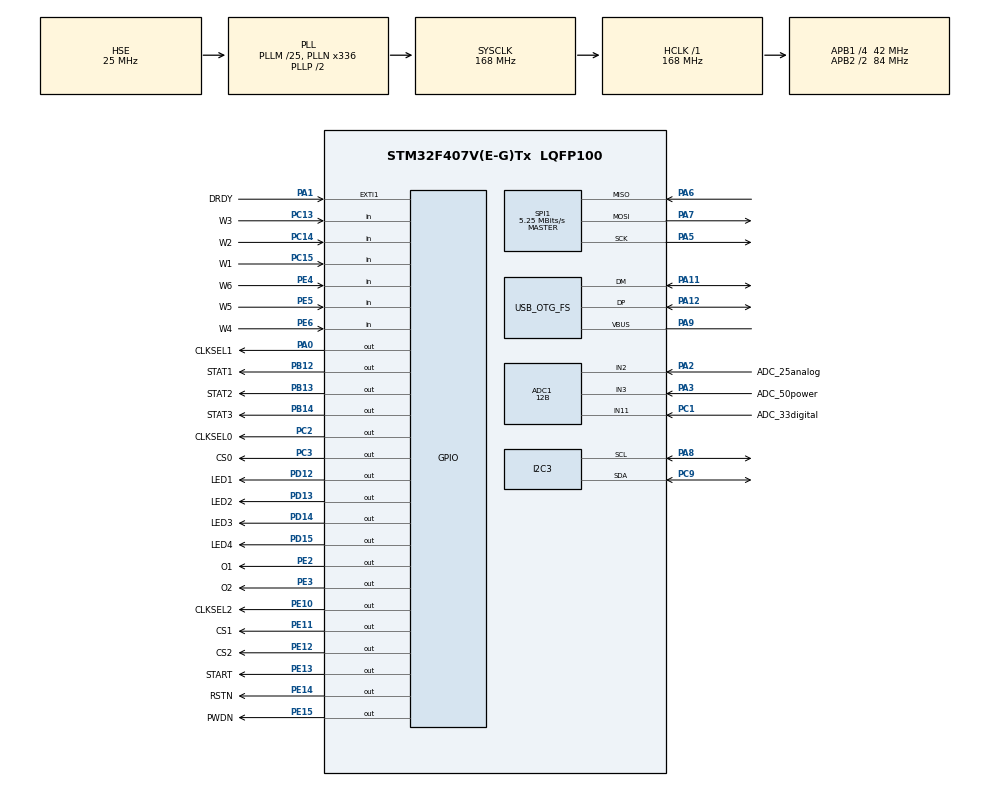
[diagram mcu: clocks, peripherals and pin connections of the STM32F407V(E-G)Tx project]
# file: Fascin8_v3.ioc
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Mcu.Family=STM32F4
PD12.GPIO_Label=LED1
PA6.Mode=Full_Duplex_Master
USB_DEVICE.CLASS_NAME_FS=CDC
PH0-OSC_IN.Signal=RCC_OSC_IN
RCC.CortexFreq_Value=168000000
SPI1.VirtualType=VM_MASTER
VP_ADC1_TempSens_Input.Mode=IN-TempSens
ADC1.ContinuousConvMode=ENABLE
PE11.GPIO_Label=CS1
SH.ADCx_IN2.0=ADC1_IN2,IN2
PB14.GPIO_Label=STAT3
PA11.Mode=Device_Only
USB_DEVICE.VirtualMode-CDC_FS=Cdc
PB13.GPIO_Label=STAT2
PB13.Signal=GPIO_Output
PC15-OSC32_OUT.GPIO_Label=W1
PE6.GPIO_Label=W4
RCC.SYSCLKSource=RCC_SYSCLKSOURCE_PLLCLK
ProjectManager.StackSize=0x6000
PD13.Signal=GPIO_Output
NVIC.EXTI1_IRQn=true\:0\:0\:false\:false\:true\:true\:true
PA12.Signal=USB_OTG_FS_DP
PE5.GPIO_PuPd=GPIO_PULLUP
USB_DEVICE.USBD_MAX_NUM_INTERFACES-CDC_FS=10
ADC1.Channel-3\#ChannelRegularConversion=ADC_CHANNEL_TEMPSENSOR
SPI1.Direction=SPI_DIRECTION_2LINES
RCC.HCLKFreq_Value=168000000
SH.ADCx_IN3.0=ADC1_IN3,IN3
ADC1.Resolution=ADC_RESOLUTION_12B
RCC.APB2TimFreq_Value=168000000
TIM3.Period=699
Dma.ADC1.0.Direction=DMA_PERIPH_TO_MEMORY
ADC1.Channel-2\#ChannelRegularConversion=ADC_CHANNEL_11
ADC1.InjNumberOfConversion=0
SPI1.CalculateBaudRate=5.25 MBits/s
PC3.Signal=GPIO_Output
NVIC.DMA2_Stream0_IRQn=true\:0\:0\:false\:false\:true\:false\:true
PE5.Signal=GPIO_Input
Dma.ADC1.0.MemDataAlignment=DMA_MDATAALIGN_WORD
RCC.AHBFreq_Value=168000000
PH0-OSC_IN.Mode=HSE-External-Clock-Source
ADC1.Channel-0\#ChannelRegularConversion=ADC_CHANNEL_2
RCC.HSE_VALUE=25000000
ADC1.ScanConvMode=ENABLE
PC13-ANTI_TAMP.Signal=GPIO_Input
PB12.GPIO_Label=STAT1
NVIC.I2C3_EV_IRQn=true\:0\:0\:false\:false\:true\:true\:true
ADC1.Rank-2\#ChannelRegularConversion=3
PE13.Signal=GPIO_Output
PA14.Mode=Serial_Wire
TIM3.Prescaler=41999
Dma.ADC1.0.PeriphInc=DMA_PINC_DISABLE
PE4.GPIO_Label=W6
PC9.Mode=I2C
PE2.Signal=GPIO_Output
PA8.Signal=I2C3_SCL
PE10.Signal=GPIO_Output
PE4.Signal=GPIO_Input
ADC1.SamplingTime-0\#ChannelRegularConversion=ADC_SAMPLETIME_3CYCLES
USB_DEVICE.APP_RX_DATA_SIZE-CDC_FS=4
PH1-OSC_OUT.Mode=HSE-External-Clock-Source
PD13.GPIO_Label=LED2
Mcu.Package=LQFP100
PA6.Signal=SPI1_MISO
PD12.Signal=GPIO_Output
NVIC.OTG_FS_IRQn=true\:0\:0\:false\:false\:true\:false\:true
PA2.GPIO_Label=ADC_25analog
USB_OTG_FS.VirtualMode=Device_Only
PE12.GPIO_Label=CS2
RCC.APB2CLKDivider=RCC_HCLK_DIV2
RCC.APB1TimFreq_Value=84000000
Dma.ADC1.0.FIFOMode=DMA_FIFOMODE_DISABLE
PC14-OSC32_IN.GPIO_Label=W2
PE10.GPIO_Label=CLKSEL2
Dma.Request0=ADC1
SPI1.BaudRatePrescaler=SPI_BAUDRATEPRESCALER_16
PE6.GPIO_PuPd=GPIO_PULLUP
PA1.GPIO_ModeDefaultEXTI=GPIO_MODE_IT_FALLING
PE2.GPIO_Label=O1
PC2.GPIO_Label=CLKSEL0
ADC1.EOCSelection=ADC_EOC_SEQ_CONV
PD15.Signal=GPIO_Output
VP_TIM3_VS_ClockSourceINT.Mode=Internal
USB_DEVICE.USBD_DEBUG_LEVEL-CDC_FS=3
PA3.Signal=ADCx_IN3
PA5.Mode=Full_Duplex_Master
Dma.ADC1.0.Instance=DMA2_Stream0
PD15.GPIO_Label=LED4
ADC1.Rank-0\#ChannelRegularConversion=1
PA7.Mode=Full_Duplex_Master
PC13-ANTI_TAMP.GPIO_PuPd=GPIO_PULLUP
USB_DEVICE.VirtualModeFS=Cdc_FS
PC13-ANTI_TAMP.GPIO_Label=W3
PC2.Signal=GPIO_Output
USB_DEVICE.USBD_MAX_STR_DESC_SIZ-CDC_FS=2048
PE14.GPIO_Label=RSTN
SPI1.CLKPhase=SPI_PHASE_2EDGE
RCC.APB1CLKDivider=RCC_HCLK_DIV4
PC14-OSC32_IN.Signal=GPIO_Input
ADC1.SamplingTime-2\#ChannelRegularConversion=ADC_SAMPLETIME_3CYCLES
PA0-WKUP.GPIO_Label=CLKSEL1
PA0-WKUP.Signal=GPIO_Output
PA13.Signal=SYS_JTMS-SWDIO
Dma.ADC1.0.PeriphDataAlignment=DMA_PDATAALIGN_WORD
PA9.Mode=Activate_VBUS
PE15.GPIO_Label=PWDN
ProjectManager.TargetToolchain=STM32CubeIDE
Dma.ADC1.0.Mode=DMA_CIRCULAR
USB_DEVICE.APP_TX_DATA_SIZE-CDC_FS=4
VP_USB_DEVICE_VS_USB_DEVICE_CDC_FS.Mode=CDC_FS
Dma.ADC1.0.Priority=DMA_PRIORITY_LOW
PA9.Signal=USB_OTG_FS_VBUS
ADC1.Channel-1\#ChannelRegularConversion=ADC_CHANNEL_3
PE11.Signal=GPIO_Output
RCC.LSE_VALUE=32768
PC15-OSC32_OUT.Signal=GPIO_Input
PA1.Signal=GPXTI1
PB14.Signal=GPIO_Output
PA5.Signal=SPI1_SCK
board=custom
RCC.VCOOutputFreq_Value=336000000
NVIC.TIM3_IRQn=true\:0\:0\:false\:false\:true\:true\:true
NVIC.SPI1_IRQn=true\:0\:0\:false\:false\:true\:true\:true
RCC.APB2Freq_Value=84000000
PE14.Signal=GPIO_Output
SH.ADCx_IN11.0=ADC1_IN11,IN11
PE15.Signal=GPIO_Output
SPI1.Mode=SPI_MODE_MASTER
PC1.GPIO_Label=ADC_33digital
PA1.GPIO_Label=DRDY
PH1-OSC_OUT.Signal=RCC_OSC_OUT
PC15-OSC32_OUT.GPIO_PuPd=GPIO_PULLUP
PD14.GPIO_Label=LED3
ADC1.DMAContinuousRequests=ENABLE
PE6.Signal=GPIO_Input
ADC1.NbrOfConversion=4
PA13.Mode=Serial_Wire
Mcu.Name=STM32F407V(E-G)Tx
PE12.Signal=GPIO_Output
PA2.Signal=ADCx_IN2
PE4.GPIO_PuPd=GPIO_PULLUP
PD14.Signal=GPIO_Output
RCC.48MHZClocksFreq_Value=48000000
ADC1.SamplingTime-1\#ChannelRegularConversion=ADC_SAMPLETIME_3CYCLES
RCC.SYSCLKFreq_VALUE=168000000
ADC1.master=1
PE13.GPIO_Label=START
PA12.Mode=Device_Only
ADC1.Rank-3\#ChannelRegularConversion=4
ADC1.SamplingTime-3\#ChannelRegularConversion=ADC_SAMPLETIME_56CYCLES
PE5.GPIO_Label=W5
ADC1.Rank-1\#ChannelRegularConversion=2
PA11.Signal=USB_OTG_FS_DM
PA14.Signal=SYS_JTCK-SWCLK
Dma.ADC1.0.MemInc=DMA_MINC_ENABLE
ProjectManager.HeapSize=0x3000
RCC.HSI_VALUE=16000000
RCC.PLLQ=7
NVIC.PriorityGroup=NVIC_PRIORITYGROUP_4
ADC1.NbrOfConversionFlag=1
USB_DEVICE.USBD_MAX_NUM_CONFIGURATION-CDC_FS=10
RCC.PLLM=25
NVIC.I2C3_ER_IRQn=true\:0\:0\:false\:false\:true\:true\:true
RCC.PLLN=336
PE3.Signal=GPIO_Output
PE3.GPIO_Label=O2
PC3.GPIO_Label=CS0
PC14-OSC32_IN.GPIO_PuPd=GPIO_PULLUP
PA8.Mode=I2C
PC9.Signal=I2C3_SDA
RCC.APB1Freq_Value=42000000
PC1.Signal=ADCx_IN11
PB12.Signal=GPIO_Output
PA3.GPIO_Label=ADC_50power
PA7.Signal=SPI1_MOSI

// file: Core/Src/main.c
/* USER CODE BEGIN Header */
/**
  ******************************************************************************
  * @file           : main.c
  * @brief          : Main program body
  ******************************************************************************
  * @attention
  *
  * <h2><center>&copy; Copyright (c) 2020 STMicroelectronics.
  * All rights reserved.</center></h2>
  *
  * This software component is licensed by ST under Ultimate Liberty license
  * SLA0044, the "License"; You may not use this file except in compliance with
  * the License. You may obtain a copy of the License at:
  *                             www.st.com/SLA0044
  *
  ******************************************************************************
  */
/* USER CODE END Header */
#include "main.h"
#include "adc.h"
#include "dma.h"
#include "i2c.h"
#include "spi.h"
#include "tim.h"
#include "usb_device.h"
#include "gpio.h"

/* USER CODE BEGIN Includes */
#include "usbd_cdc_if.h"
#include "ads.h"
#include "i2cdev.h"

#include "stdio.h"
/* USER CODE END Includes */

/* USER CODE BEGIN PD */
#define W1 !HAL_GPIO_ReadPin(W1_GPIO_Port,W1_Pin)
#define W2 !HAL_GPIO_ReadPin(W2_GPIO_Port,W2_Pin)
#define W3 !HAL_GPIO_ReadPin(W3_GPIO_Port,W3_Pin)
#define W4 !HAL_GPIO_ReadPin(W4_GPIO_Port,W4_Pin)
#define W5 !HAL_GPIO_ReadPin(W5_GPIO_Port,W5_Pin)
#define W6 !HAL_GPIO_ReadPin(W6_GPIO_Port,W6_Pin)

/* USER CODE END PD */

/* USER CODE BEGIN PV */
uint8_t recivBuff[32], transBuff[128]; //USB CDC transmit and recieve buffers
int new_data_flag_usb = 0; // new data USB arrival
int app_version = 1;
int device_stat = 0;
// SPI & data gathering
ADS_SettingTypeDef device_setting;

uint8_t dummyclk[27];  // zero data for spi recieve data
uint8_t RDATACflag;  // continus read from ADS flag (1: data gathering going on   0:no data gathering)
uint8_t sample_number; // the total number of samples recieved in a gathering session

uint8_t num_of_huges, user_huge_values = 0, huge_updated = 1, huge_colors[8]= {0x33,0x33,0x33,3,3,3,3,3}, huge_stat = 0;
uint8_t i2cIN[4] = {12,12,12,12}, i2cOUT[11];

uint32_t ADCvals[4];
float TemperatureC;
/* USER CODE END PV */

void SystemClock_Config(void);
/* USER CODE BEGIN PFP */
void Variable_Defults(void);
void SystemResponseUSB(void);
void Write_Flash(uint32_t address, uint32_t data);
uint32_t Read_Flash(uint32_t address);
void light_pattern(int8_t patt);
/* USER CODE END PFP */

int main(void)
{

  /* MCU Configuration--------------------------------------------------------*/

  /* Reset of all peripherals, Initializes the Flash interface and the Systick. */
  HAL_Init();

  /* Configure the system clock */
  SystemClock_Config();

  /* Initialize all configured peripherals */
  MX_GPIO_Init();
  MX_DMA_Init();
  MX_ADC1_Init();
  MX_I2C3_Init();
  MX_SPI1_Init();
  MX_TIM3_Init();
  MX_USB_DEVICE_Init();

  /* USER CODE BEGIN 2 */
  light_pattern(2);
  HAL_GPIO_WritePin(O1_GPIO_Port, O1_Pin, 1);
  HAL_GPIO_WritePin(O2_GPIO_Port, O2_Pin, 1);

  HAL_NVIC_SetPriority(TIM3_IRQn, 2, 2);
  HAL_NVIC_SetPriority(I2C3_EV_IRQn, 1, 1);
  HAL_NVIC_SetPriority(I2C3_ER_IRQn, 1, 1);

  HAL_TIM_Base_Stop_IT(&htim3);
  Variable_Defults();
  HAL_Delay(500);
  ADS_Init(1);

  HAL_GPIO_WritePin(CS0,GPIO_PIN_SET);  //ADS SPI turn off
  HAL_GPIO_WritePin(CS1,GPIO_PIN_SET);  //ADS SPI turn off
  HAL_GPIO_WritePin(CS2,GPIO_PIN_SET);  //ADS SPI turn off

 if ((ADS_Read_Reg(0x00, 0) & 0x0F) != 0x0E) Error_Handler();
  if ((ADS_Read_Reg(0x00, 1) & 0x0F) != 0x0E) Error_Handler();
  if ((ADS_Read_Reg(0x00, 2) & 0x0F) != 0x0E) Error_Handler();

  device_setting.linked_ear = 'n';
  device_setting.TestSignal = 'T'; // test signal
  device_setting.SamplingRate = '8'; //2000 sps
  device_setting.SRBConnection = 'C';  //
  device_setting.Gain = 24;
  device_setting.ExtraGain = 1;
  device_setting.Channels = 0xFFFF;  //
  device_setting.ExtraChannels = 0x00;  //extra channels off
  device_setting.derivation = 0xFF; //all derivation connected

  analog_setting(device_setting);  // write setting

  if ((ADS_Read_Reg(0x00, 0) & 0x0F) != 0x0E) Error_Handler();
  if ((ADS_Read_Reg(0x00, 1) & 0x0F) != 0x0E) Error_Handler();
  if ((ADS_Read_Reg(0x00, 2) & 0x0F) != 0x0E) Error_Handler();

  /* USER CODE END 2 */

  /* Infinite loop */
  /* USER CODE BEGIN WHILE */

  HAL_Delay(CSdelay);
  HAL_TIM_Base_Start_IT(&htim3);
  light_pattern(1);

  //HAL_ADC_Start_DMA(&hadc1, ADCvals, 4);
  HAL_GPIO_WritePin(O1_GPIO_Port, O1_Pin, 1);
  HAL_GPIO_WritePin(O2_GPIO_Port, O2_Pin, 1);

  //float V25 = 0.76;
  //float Avg_Slope = 2.5;
  //float Temp_ADVal = 0;
  HAL_Delay(200);
//  ADS_Read_Reg(0x00, 1);

  while (1)
  {
    /* USER CODE END WHILE */

    /* USER CODE BEGIN 3 */
	  SystemResponseUSB();
  }
  /* USER CODE END 3 */
}

void SystemClock_Config(void)
{
  RCC_OscInitTypeDef RCC_OscInitStruct = {0};
  RCC_ClkInitTypeDef RCC_ClkInitStruct = {0};

  /** Configure the main internal regulator output voltage
  */
  __HAL_RCC_PWR_CLK_ENABLE();
  __HAL_PWR_VOLTAGESCALING_CONFIG(PWR_REGULATOR_VOLTAGE_SCALE1);
  /** Initializes the RCC Oscillators according to the specified parameters
  * in the RCC_OscInitTypeDef structure.
  */
  RCC_OscInitStruct.OscillatorType = RCC_OSCILLATORTYPE_HSE;
  RCC_OscInitStruct.HSEState = RCC_HSE_BYPASS;
  RCC_OscInitStruct.PLL.PLLState = RCC_PLL_ON;
  RCC_OscInitStruct.PLL.PLLSource = RCC_PLLSOURCE_HSE;
  RCC_OscInitStruct.PLL.PLLM = 25;
  RCC_OscInitStruct.PLL.PLLN = 336;
  RCC_OscInitStruct.PLL.PLLP = RCC_PLLP_DIV2;
  RCC_OscInitStruct.PLL.PLLQ = 7;
  if (HAL_RCC_OscConfig(&RCC_OscInitStruct) != HAL_OK)
  {
    Error_Handler();
  }
  /** Initializes the CPU, AHB and APB buses clocks
  */
  RCC_ClkInitStruct.ClockType = RCC_CLOCKTYPE_HCLK|RCC_CLOCKTYPE_SYSCLK
                              |RCC_CLOCKTYPE_PCLK1|RCC_CLOCKTYPE_PCLK2;
  RCC_ClkInitStruct.SYSCLKSource = RCC_SYSCLKSOURCE_PLLCLK;
  RCC_ClkInitStruct.AHBCLKDivider = RCC_SYSCLK_DIV1;
  RCC_ClkInitStruct.APB1CLKDivider = RCC_HCLK_DIV4;
  RCC_ClkInitStruct.APB2CLKDivider = RCC_HCLK_DIV2;

  if (HAL_RCC_ClockConfig(&RCC_ClkInitStruct, FLASH_LATENCY_5) != HAL_OK)
  {
    Error_Handler();
  }
}

/* USER CODE BEGIN 4 */
void CDC_ReceiveCallBack(uint8_t *buf, uint32_t len)
{
	int i;
	for (i=0; i<32; i++)
			recivBuff[i] = buf[i];
	SetLED(3,3,1,3);
	new_data_flag_usb = 1;
}

void SystemResponseUSB(void)
{

	if (new_data_flag_usb == 1 )
		{

			if (recivBuff[0]=='U' && recivBuff[1]=='8' && recivBuff[2]=='_')
				{
					if ( recivBuff[3]=='R') HAL_NVIC_SystemReset();
					else if ( recivBuff[3]=='B' && RDATACflag==0)   //System Begin
									{
										device_stat = 1;
										HAL_TIM_Base_Stop_IT(&htim3);
										HAL_GPIO_WritePin(O1_GPIO_Port, O1_Pin, 0);
										HAL_GPIO_WritePin(O2_GPIO_Port, O2_Pin, 0);
										//if (HAL_I2C_IsDeviceReady(&hi2c3, 0x10, 1, 100) == HAL_OK) start_i2c_data();
										if (huge_stat) start_i2c_data();
										sample_number = 0;
										light_pattern(2);
										ADS_Start_data_full();
									}

					else if ( recivBuff[3]=='E' && RDATACflag==1)
									{
						  HAL_GPIO_WritePin(O1_GPIO_Port, O1_Pin, 1);
						  HAL_GPIO_WritePin(O2_GPIO_Port, O2_Pin, 1);
										 device_stat = 0;
										 light_pattern(1);
										 SetLED(3,0,3,3);
										 ADS_Stop_data_Full();
										 Write_Flash(flash_address, Read_Flash(flash_address)+1);
										 HAL_TIM_Base_Start_IT(&htim3);
									}
//					else if ( recivBuff[3]=='S' && RDATACflag==0  )
//						{
//							light_pattern(3);
//							transBuff[23] = num_of_huges;
//							transBuff[24] = firmware_version;     //program version
//							transBuff[25] = device_uniqeID >> 8;
//							transBuff[26] = (uint8_t)device_uniqeID + W1 + 2*W2 + 4*W3 + 8*W4 + 16*W5 + 32*W6;
//							transBuff[27] = device_series_ID;
//							uint32_t flashdata = Read_Flash(flash_address);  //flash data (number of 'stop' used)
//							transBuff[28] = flashdata >> 16 ;
//							transBuff[29] = flashdata >> 8 ;
//							transBuff[30] = flashdata;
//							transBuff[31] = company_ID;
//
//							CDC_Transmit_FS(transBuff, 32);
//							HAL_Delay(50);
//							light_pattern(1);
//						}
						else if ( recivBuff[3]=='s' && RDATACflag==0  ) // 's' for new setting format
						{
							app_version = 1;
							light_pattern(3);

							device_setting.TestSignal = recivBuff[4];
							device_setting.SamplingRate = recivBuff[5];
							device_setting.LeadoffMode = recivBuff[6];
							device_setting.SRBConnection = recivBuff[7];
							device_setting.Gain = recivBuff[8];
							device_setting.ExtraGain = recivBuff[9];

							device_setting.linked_ear = recivBuff[10];

							device_setting.Channels = 65536 * recivBuff[17] + 256 * recivBuff[16] + recivBuff[15];
							device_setting.ExtraChannels = recivBuff[18];
							//device_setting.derivation = recivBuff[19];
							device_setting.derivation = 0x00;

							analog_setting(device_setting);  // write setting

							huge_colors[0]= recivBuff[20];
							huge_colors[1]= recivBuff[21];
							huge_colors[2]= recivBuff[22];
							huge_colors[3]= recivBuff[23];

							for (unsigned char i = 0; i < 24; i++)   // read back written setting
									transBuff[i] = ADS_Read_Reg(i, 2);

							transBuff[22] = device_setting.derivation;
							transBuff[23] = num_of_huges;

							transBuff[24] = firmware_version;     //program version
							transBuff[25] = device_uniqeID >> 8;
							transBuff[26] = (uint8_t)device_uniqeID + W1 + 2*W2 + 4*W3 + 8*W4 + 16*W5 + 32*W6;
							transBuff[27] = device_series_ID;
							uint32_t flashdata = Read_Flash(flash_address);  //flash data (number of 'stop' used)
							transBuff[28] = flashdata >> 16 ;
							transBuff[29] = flashdata >> 8 ;
							transBuff[30] = flashdata;
							transBuff[31] = company_ID;
							HAL_Delay(50);
							CDC_Transmit_FS(transBuff, 32);
							HAL_Delay(50);
							light_pattern(1);

						   if ((ADS_Read_Reg(0x00, 0) & 0x0F) != 0x0E) Error_Handler();
						  if ((ADS_Read_Reg(0x00, 1) & 0x0F) != 0x0E) Error_Handler();
						   if ((ADS_Read_Reg(0x00, 2) & 0x0F) != 0x0E) Error_Handler();

						}
				}
	     new_data_flag_usb = 0;
			 SetLED(3,3,0,3);
    }
}

void Write_Flash(uint32_t address, uint32_t data)
{
     HAL_FLASH_Unlock();
     __HAL_FLASH_CLEAR_FLAG(FLASH_FLAG_EOP | FLASH_FLAG_OPERR | FLASH_FLAG_WRPERR | FLASH_FLAG_PGAERR | FLASH_FLAG_PGSERR );
     FLASH_Erase_Sector(FLASH_SECTOR_11, VOLTAGE_RANGE_3);
     HAL_FLASH_Program(TYPEPROGRAM_WORD, address, data);
     HAL_FLASH_Lock();
}

uint32_t Read_Flash(uint32_t address)
{
		uint32_t Flash_data;
		Flash_data = *(uint32_t*) address;
		return Flash_data;
}

void Variable_Defults(void)
{
	 /* Variables Initialize Values */
		for (unsigned char i = 0; i < 28; i++)	transBuff[i] = i + 20;
		transBuff[24] = 11;
		transBuff[25] = 0;

		for (unsigned char i = 0; i < 27; i++)	dummyclk[i] = 0;
		RDATACflag = 0;

		// Complite SetUp Notification
		SetLED(1,1,1,1); HAL_Delay(500);
		SetLED(1,0,0,0); HAL_Delay(100);
		SetLED(0,1,0,0); HAL_Delay(100);
		SetLED(0,0,1,0); HAL_Delay(100);
		SetLED(0,0,0,1); HAL_Delay(100);
		SetLED(0,0,0,0);
}

void light_pattern(int8_t patt)
{
	if (patt == 0)  // off
		{
			HAL_GPIO_WritePin(STAT1_GPIO_Port, STAT1_Pin, GPIO_PIN_RESET);
			HAL_GPIO_WritePin(STAT2_GPIO_Port, STAT2_Pin, GPIO_PIN_RESET);
			HAL_GPIO_WritePin(STAT3_GPIO_Port, STAT3_Pin, GPIO_PIN_RESET);
		}
	else if (patt == 1)  // white simple (idle)
		{
//			HAL_GPIO_WritePin(STAT1_GPIO_Port, STAT1_Pin, GPIO_PIN_RESET);
		HAL_GPIO_WritePin(STAT1_GPIO_Port, STAT1_Pin, GPIO_PIN_SET);
			HAL_GPIO_WritePin(STAT2_GPIO_Port, STAT2_Pin, GPIO_PIN_RESET);
			//HAL_GPIO_WritePin(STAT3_GPIO_Port, STAT3_Pin, GPIO_PIN_SET);
			HAL_GPIO_WritePin(STAT3_GPIO_Port, STAT3_Pin, GPIO_PIN_RESET);
		}
	else if (patt == 2)  // White pattern (data gathering)
		{
			HAL_GPIO_WritePin(STAT1_GPIO_Port, STAT1_Pin, GPIO_PIN_RESET);
			HAL_GPIO_WritePin(STAT2_GPIO_Port, STAT2_Pin, GPIO_PIN_SET);
			HAL_GPIO_WritePin(STAT3_GPIO_Port, STAT3_Pin, GPIO_PIN_RESET);
		}
	else if (patt == 3)  // blink blue (setting)
		{
			//HAL_GPIO_WritePin(STAT1_GPIO_Port, STAT1_Pin, GPIO_PIN_RESET);
			HAL_GPIO_WritePin(STAT1_GPIO_Port, STAT1_Pin, GPIO_PIN_SET);
			HAL_GPIO_WritePin(STAT2_GPIO_Port, STAT2_Pin, GPIO_PIN_SET);
//			HAL_GPIO_WritePin(STAT3_GPIO_Port, STAT3_Pin, GPIO_PIN_SET);
			HAL_GPIO_WritePin(STAT3_GPIO_Port, STAT3_Pin, GPIO_PIN_RESET);
		}
	else if (patt == 4)  // blink blue (setting)
		{
			HAL_GPIO_WritePin(STAT1_GPIO_Port, STAT1_Pin, GPIO_PIN_RESET);
			HAL_GPIO_WritePin(STAT2_GPIO_Port, STAT2_Pin, GPIO_PIN_RESET);
			HAL_GPIO_WritePin(STAT3_GPIO_Port, STAT3_Pin, GPIO_PIN_SET);
		}
	else
		{
			HAL_GPIO_WritePin(STAT1_GPIO_Port, STAT1_Pin, GPIO_PIN_SET);
			HAL_GPIO_WritePin(STAT2_GPIO_Port, STAT2_Pin, GPIO_PIN_SET);
			HAL_GPIO_WritePin(STAT3_GPIO_Port, STAT3_Pin, GPIO_PIN_SET);
		}
}

/* ************************************** */
/* ************************************** */
/* ************************************** */

void HAL_I2C_MasterTxCpltCallback(I2C_HandleTypeDef *hi2c)
{
			HAL_I2C_Master_Receive_IT(&hi2c3, 0x10, i2cIN, 4);
}

void HAL_I2C_MasterRxCpltCallback(I2C_HandleTypeDef *hi2c)
{

		if (i2cIN[0] == 'S')
		{
			__NOP();
			huge_stat = 1;
			num_of_huges = i2cIN[2];
		}
		else if (i2cIN[0] == 'D')
		{
			user_huge_values = i2cIN[3];
		}

		huge_updated = 1;

}

void HAL_I2C_SlaveRxCpltCallback(I2C_HandleTypeDef *hi2c)
{
//	if (i2cIN[3] != 0xfa)
//		SetLED (2,2,2,2);
	__NOP();
}

/* USER CODE END 4 */

void Error_Handler(void)
{
  /* USER CODE BEGIN Error_Handler_Debug */
  /* User can add his own implementation to report the HAL error return state */
	light_pattern(4);
	SetLED(0,0,0,0);
	HAL_TIM_Base_Stop_IT(&htim3);
	while(1)
	{
		SetLED(1,1,1,1);
		HAL_Delay(150);
		SetLED(0,0,0,0);
		HAL_Delay(150);
	}
  /* USER CODE END Error_Handler_Debug */
}

/************************ (C) COPYRIGHT STMicroelectronics *****END OF FILE****/
